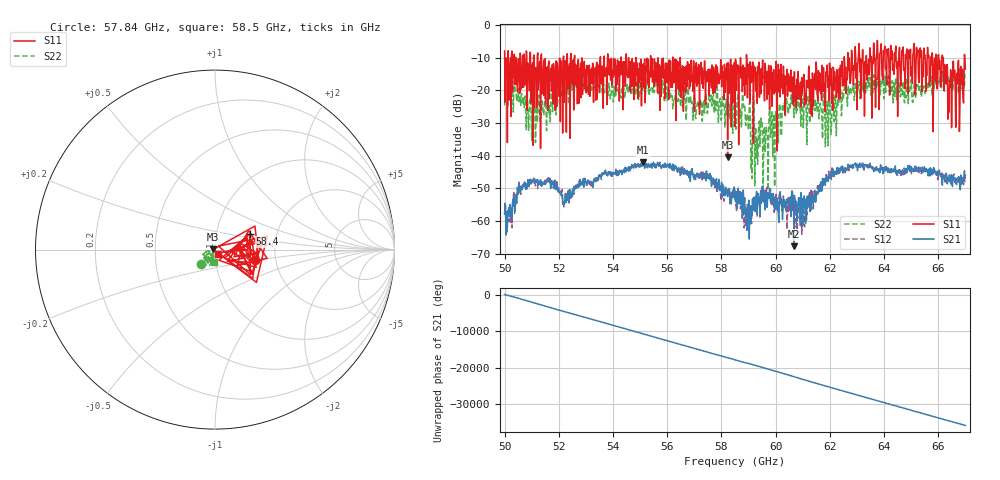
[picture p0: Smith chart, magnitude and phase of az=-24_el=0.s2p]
!Created with skrf (http://scikit-rf.org).
# GHz S RI R 50.0
!freq ReS11 ImS11 ReS21 ImS21 ReS12 ImS12 ReS22 ImS22
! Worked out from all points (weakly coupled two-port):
!   1001 points, 50 GHz to 67 GHz, reference 50 ohm
!   highest |S21| = -41.95 dB at 55.1 GHz (marker M1); lowest = -67.7 dB at 60.68 GHz (marker M2)
!   lowest |S11| = -40.5 dB at 58.23 GHz (marker M3), VSWR 1.02, Z = 49.1 + j0.105 ohm
!   |S11| at or under -10 dB: 52.59 GHz to 53.53 GHz (946.9 MHz wide, 1.78 % of centre); 56.48 GHz to 58.92 GHz (2.446 GHz wide, 4.24 % of centre); 58.93 GHz to 62.53 GHz (3.598 GHz wide, 5.93 % of centre) (the widest 3 of 64)
!   |S22| runs from -52.6 to -13.1 dB; largest |S21 - S12| = 0.0022
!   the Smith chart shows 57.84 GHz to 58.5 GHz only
!   S11 on the Smith chart (normalised r, x): 57.84 GHz: 1.56, -0.19; 58.4 GHz: 1.45, +0.26; 58.5 GHz: 1.03, -0.05
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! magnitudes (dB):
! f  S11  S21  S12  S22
! 50 GHz  -8.0  -57.9  -57.9  -24.6
! 50.15 GHz  -23.0  -56.4  -55.9  -21.0
! 51 GHz  -12.6  -48.3  -48.4  -35.3
! 52.23 GHz  -10.9  -54.3  -52.9  -20.7
! 52.84 GHz  -11.4  -48.4  -48.4  -19.8
! 55.1 GHz  -18.8  -41.9  -42.3  -19.5
! 55.68 GHz  -13.5  -43.2  -43.5  -21.1
! 57.84 GHz  -12.8  -50.4  -50.9  -19.2
! 58.23 GHz  -40.5  -52.5  -51.8  -22.7
! 58.4 GHz  -13.5  -52.8  -52.8  -26.3
! 58.5 GHz  -31.1  -50.8  -52.9  -23.4
! 59.01 GHz  -12.2  -53.6  -54.3  -30.2
! 59.3 GHz  -15.4  -50.9  -52.8  -40.6
! 60.68 GHz  -17.8  -67.7  -55.0  -28.3
! 61.34 GHz  -27.6  -53.1  -51.9  -27.0
! 61.88 GHz  -15.2  -47.3  -47.4  -24.7
! 62.39 GHz  -12.3  -43.6  -44.8  -19.4
! 64.18 GHz  -11.8  -44.1  -44.8  -17.6
! 66.1 GHz  -14.8  -46.1  -46.1  -18.2
! 66.44 GHz  -19.0  -46.5  -48.1  -16.5
! 66.86 GHz  -17.8  -47.4  -48.4  -16.5
! 67 GHz  -13.5  -46.1  -48.4  -14.5
